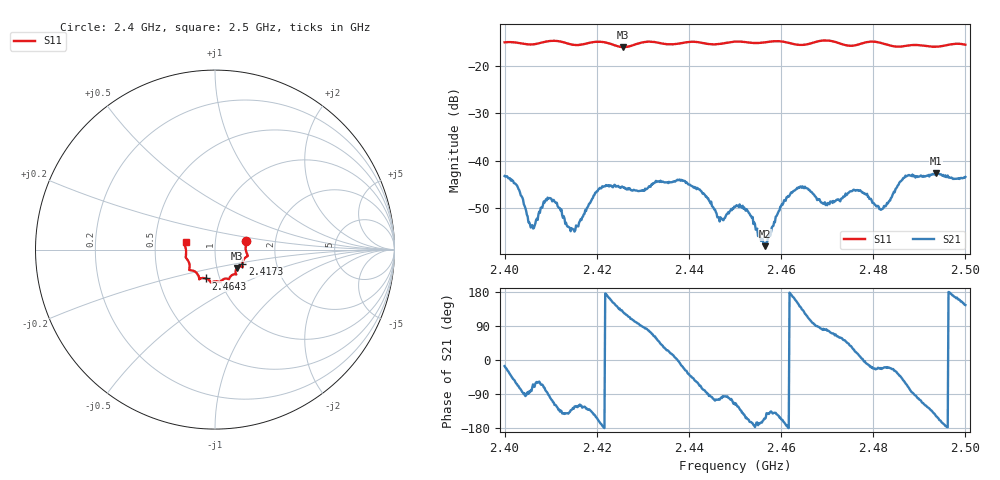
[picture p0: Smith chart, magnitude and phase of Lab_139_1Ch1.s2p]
# Hz S RI R 50
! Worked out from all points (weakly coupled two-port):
!   601 points, 2.4 GHz to 2.5 GHz, reference 50 ohm
!   highest |S21| = -42.71 dB at 2.4937 GHz (marker M1); lowest = -58.2 dB at 2.4565 GHz (marker M2)
!   lowest |S11| = -15.9 dB at 2.4257 GHz (marker M3), VSWR 1.38, Z = 62.5 - j13.1 ohm
!   |S11| at or under -10 dB: start of sweep to end of sweep
!   S12 and S22 are empty: the file has one direction only
!   S11 on the Smith chart (normalised r, x): 2.4 GHz: 1.41, +0.14; 2.4173 GHz: 1.34, -0.22; 2.4643 GHz: 0.86, -0.29; 2.5 GHz: 0.72, +0.06
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2.4e9  0.1728 0.0488  0.00659 -0.0019  0 0  0 0
2.402833e9  0.1745 0.0357  0.00203 -0.00486  0 0  0 0
2.406e9  0.1707 0.00177  0.000633 -0.00197  0 0  0 0
2.4095e9  0.1821 -0.031  -0.000137 -0.00394  0 0  0 0
2.414667e9  0.1616 -0.0523  -0.00121 -0.00145  0 0  0 0
2.416667e9  0.1528 -0.0739  -0.00119 -0.00202  0 0  0 0
2.417333e9  0.152 -0.0815  -0.00149 -0.00228  0 0  0 0
2.420833e9  0.154 -0.0971  -0.00497 -0.00107  0 0  0 0
2.425667e9  0.123 -0.1019  -0.00316 0.00418  0 0  0 0
2.433333e9  0.1132 -0.1373  0.00383 0.00464  0 0  0 0
2.442e9  0.0744 -0.1644  0.00237 -0.00441  0 0  0 0
2.447e9  0.0404 -0.1689  -0.000368 -0.00238  0 0  0 0
2.45e9  0.0287 -0.1808  -0.00149 -0.00287  0 0  0 0
2.453e9  0.0176 -0.1778  -0.00259 -0.00103  0 0  0 0
2.4565e9  -0.0101 -0.1795  -0.00112 -0.000523  0 0  0 0
2.460333e9  -0.0249 -0.1813  -0.00317 -0.00124  0 0  0 0
2.464333e9  -0.0499 -0.1609  -0.00394 0.00355  0 0  0 0
2.466667e9  -0.0758 -0.1593  -0.000804 0.00456  0 0  0 0
2.483333e9  -0.1413 -0.0902  0.00341 -0.00123  0 0  0 0
2.487e9  -0.1551 -0.0554  0.0033 -0.00609  0 0  0 0
2.493667e9  -0.1614 -0.00643  -0.00626 -0.00379  0 0  0 0
2.5e9  -0.164 0.043  -0.00549 0.00385  0 0  0 0
